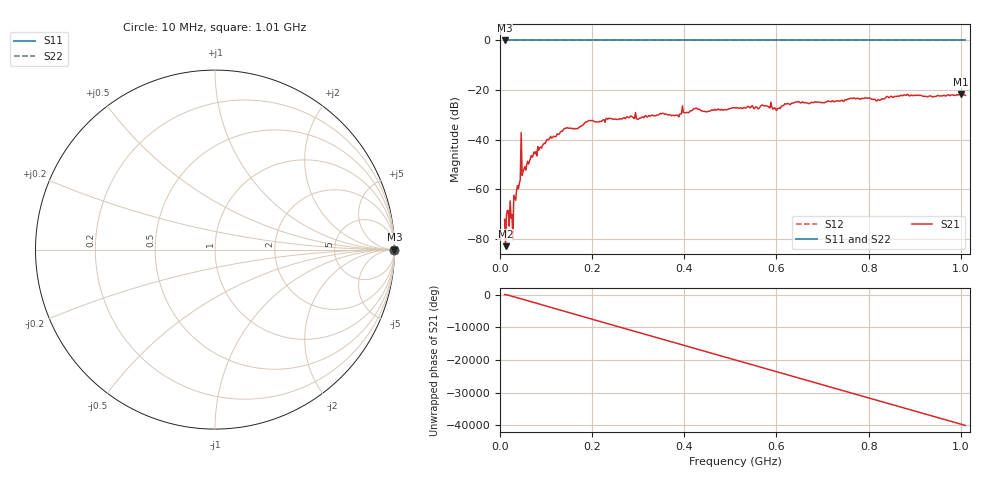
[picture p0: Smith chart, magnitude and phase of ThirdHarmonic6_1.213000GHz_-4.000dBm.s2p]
! 8/16/2025 12:39:20 PM
! C:\ANRITSUVNA\TEMP\TEMP.S2P
! CHANNEL.1
! TR.MEASUREMENT
! RAW.DATA
! RF.CORRECTION.OFF
! AVERAGING.OFF
! IF.BANDWIDTH: 5KHZ
! SWEEPTYPE:  FREQ.SWEEP(Linear)
! Reference Plane Port Info
! PORT:  PORT1  PORT2
! DISTANCE:  0  m  0  m
! TIME:  0  s  0  s
! PHASE.OFFSET:  0  deg.  0  deg.
! LOSS:  0  dB  0  dB
! REF.LOSS:  0  dB  0  dB
! REF.FREQ:  0  Hz  0  Hz
! Power Info
! POWER:  -20  dBm  -20  dBm
! EFF.POWER:  -20  dBm  -20  dBm
! SOURCE.ATTEN:  0  dB  0  dB
! TEST.ATTEN:  0  dB  0  dB
# GHZ S RI R 50.0
! FREQ.GHZ  S11RE  S11IM  S21RE  S21IM  S12RE  S12IM  S22RE  S22IM
!; PortSelection: Port_12
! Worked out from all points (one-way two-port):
!   501 points, 10 MHz to 1.01 GHz, reference 50 ohm
!   highest |S21| = -21.54 dB at 1 GHz (marker M1); lowest = -82.9 dB at 12 MHz (marker M2)
!   lowest |S11| = 0.0 dB at 10 MHz (marker M3)
!   |S11| at or under -10 dB: nowhere
!   |S22| runs from 0.0 to 0.0 dB; largest |S21 - S12| = 1.1
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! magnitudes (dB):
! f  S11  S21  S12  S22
! 10 MHz  0.0  -72.1  0.0  0.0
! 12 MHz  0.0  -82.9  0.0  0.0
! 16 MHz  0.0  -68.5  0.0  0.0
! 18 MHz  0.0  -68.7  0.0  0.0
! 24 MHz  0.0  -71.5  0.0  0.0
! 32 MHz  0.0  -63.4  0.0  0.0
! 34 MHz  0.0  -64.4  0.0  0.0
! 40 MHz  0.0  -59.7  0.0  0.0
! 42 MHz  0.0  -57.6  0.0  0.0
! 50 MHz  0.0  -52.8  0.0  0.0
! 52 MHz  0.0  -51.9  0.0  0.0
! 70 MHz  0.0  -47.0  0.0  0.0
! 106 MHz  0.0  -39.8  0.0  0.0
! 178 MHz  0.0  -34.2  0.0  0.0
! 196 MHz  0.0  -32.3  0.0  0.0
! 344 MHz  0.0  -30.0  0.0  0.0
! 510 MHz  0.0  -27.2  0.0  0.0
! 602 MHz  0.0  -27.5  0.0  0.0
! 678 MHz  0.0  -25.0  0.0  0.0
! 844 MHz  0.0  -23.1  0.0  0.0
! 1 GHz  0.0  -21.5  0.0  0.0
! 1.01 GHz  0.0  -22.1  0.0  0.0
